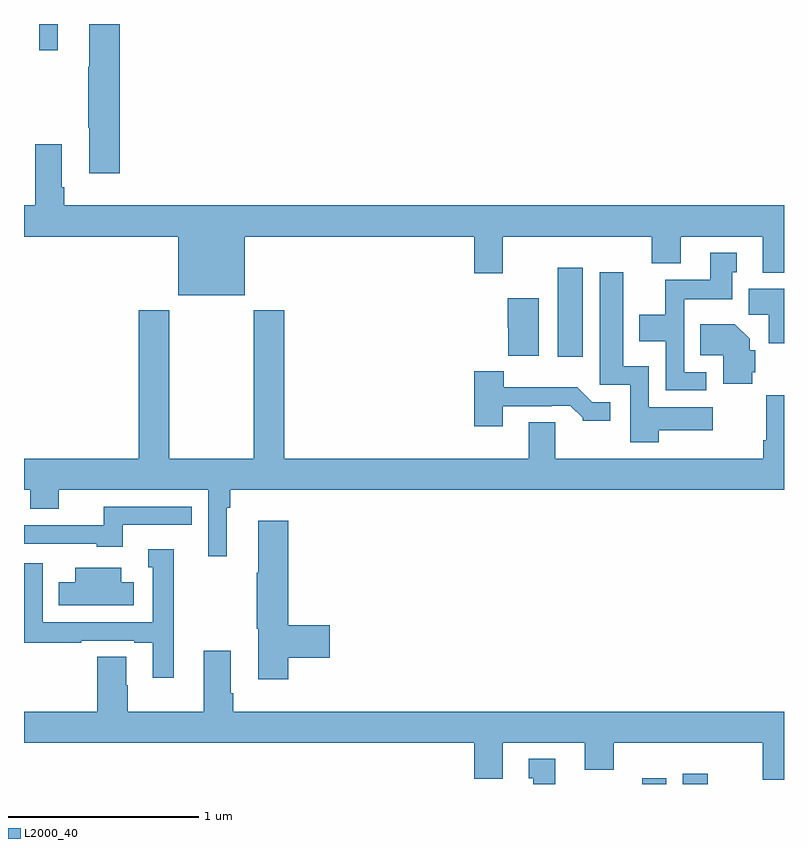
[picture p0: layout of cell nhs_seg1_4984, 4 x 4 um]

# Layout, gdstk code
import gdstk
lib = gdstk.Library(unit=1e-6, precision=1e-09)
def R(c, l, rs):  # rectangles x0, y0, x1, y1
    for r in rs: c.add(gdstk.rectangle(r[:2], r[2:], *l))
def P(c, l, *ps):  # polygons
    for p in ps: c.add(gdstk.Polygon(p, *l))
L2000_40 = (2000, 40)

nhs_seg1_4984 = lib.new_cell('nhs_seg1_4984')
R(nhs_seg1_4984, L2000_40, [(384.254,534.199,384.379,534.229), (384.467,534.199,384.598,534.253), (383.81,536.448,383.941,536.917), (381.081,538.062,381.178,538.199)])
P(nhs_seg1_4984, L2000_40, [(381.503,538.199),(381.344,538.199),(381.344,537.974),(381.337,537.974),(381.337,537.652),(381.344,537.652),(381.344,537.414),(381.503,537.414)],
  [(382.162,537.08),(383.369,537.08),(383.369,536.886),(383.521,536.886),(383.521,537.08),(384.305,537.08),(384.305,536.939),(384.457,536.939),(384.457,537.08),(384.887,537.08),(384.887,536.891),(385,536.891),(385,537.244),(381.212,537.244),(381.212,537.34),(381.199,537.34),(381.199,537.565),(381.059,537.565),(381.059,537.244),(381,537.244),(381,537.08),(381.812,537.08),(381.812,536.771),(382.162,536.771)],
  [(384.592,536.367),(384.474,536.367),(384.474,536.75),(384.727,536.75),(384.727,536.892),(384.751,536.892),(384.751,536.995),(384.611,536.995),(384.611,536.854),(384.376,536.854),(384.376,536.668),(384.239,536.668),(384.239,536.528),(384.378,536.528),(384.378,536.271),(384.592,536.271)],
  [(384.341,536.06),(384.625,536.06),(384.625,536.182),(384.288,536.182),(384.288,536.398),(384.154,536.398),(384.154,536.893),(384.029,536.893),(384.029,536.301),(384.192,536.301),(384.192,535.998),(384.341,535.998)],
  [(385,536.806),(384.815,536.806),(384.815,536.668),(384.921,536.668),(384.921,536.52),(385,536.52)],
  [(383.71,536.755),(383.546,536.755),(383.546,536.601),(383.548,536.601),(383.548,536.453),(383.71,536.453)],
  [(382.066,535.652),(382.085,535.652),(382.085,535.748),(385,535.748),(385,536.245),(384.907,536.245),(384.907,536.008),(384.892,536.008),(384.892,535.912),(383.797,535.912),(383.797,536.102),(383.657,536.102),(383.657,535.912),(382.37,535.912),(382.37,536.692),(382.21,536.692),(382.21,535.912),(381.765,535.912),(381.765,536.692),(381.605,536.692),(381.605,535.912),(381,535.912),(381,535.748),(381.032,535.748),(381.032,535.649),(381.184,535.649),(381.184,535.748),(381.969,535.748),(381.969,535.398),(382.066,535.398)],
  [(384.833,536.367),(384.849,536.367),(384.849,536.481),(384.82,536.481),(384.82,536.542),(384.742,536.62),(384.559,536.62),(384.559,536.456),(384.68,536.456),(384.68,536.306),(384.833,536.306)],
  [(383.521,536.187),(383.777,536.187),(383.777,536.19),(383.876,536.19),(383.94,536.126),(383.94,536.111),(384.085,536.111),(384.085,536.208),(383.991,536.208),(383.913,536.287),(383.524,536.287),(383.524,536.371),(383.369,536.371),(383.369,536.082),(383.521,536.082)],
  [(381.52,535.563),(381.884,535.563),(381.884,535.659),(381.421,535.659),(381.421,535.56),(381,535.56),(381,535.464),(381.384,535.464),(381.384,535.448),(381.52,535.448)],
  [(382.391,534.863),(382.609,534.863),(382.609,535.034),(382.391,535.034),(382.391,535.585),(382.232,535.585),(382.232,535.31),(382.225,535.31),(382.225,535.017),(382.232,535.017),(382.232,534.75),(382.391,534.75)],
  [(381.787,535.435),(381.653,535.435),(381.653,535.341),(381.678,535.341),(381.678,535.05),(381.099,535.05),(381.099,535.362),(381,535.362),(381,535.246),(381.001,535.246),(381.001,534.942),(381.302,534.942),(381.302,534.954),(381.581,534.954),(381.581,534.942),(381.677,534.942),(381.677,534.759),(381.787,534.759)],
  [(381.577,535.261),(381.511,535.261),(381.511,535.336),(381.269,535.336),(381.269,535.261),(381.184,535.261),(381.184,535.139),(381.577,535.139)],
  [(385,534.58),(382.1,534.58),(382.1,534.676),(382.087,534.676),(382.087,534.901),(381.947,534.901),(381.947,534.58),(381.546,534.58),(381.546,534.719),(381.538,534.719),(381.538,534.869),(381.386,534.869),(381.386,534.58),(381,534.58),(381,534.416),(383.369,534.416),(383.369,534.227),(383.521,534.227),(383.521,534.416),(383.951,534.416),(383.951,534.275),(384.104,534.275),(384.104,534.416),(384.887,534.416),(384.887,534.222),(385,534.222)],
  [(383.797,534.331),(383.657,534.331),(383.657,534.228),(383.681,534.228),(383.681,534.199),(383.797,534.199)])

lib.write_gds('nhs_seg1_4984.gds')
